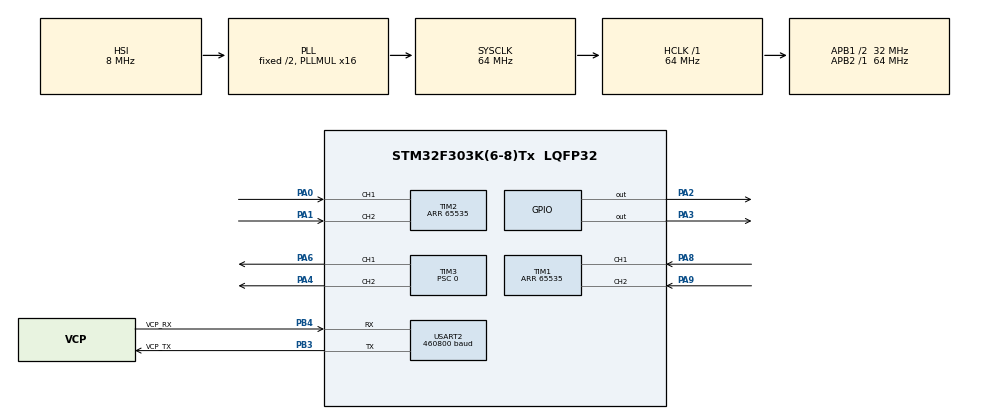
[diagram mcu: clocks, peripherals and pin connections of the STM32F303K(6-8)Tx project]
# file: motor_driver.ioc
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Dma.Request0=USART2_RX
Dma.Request1=USART2_TX
Dma.USART2_RX.0.Direction=DMA_PERIPH_TO_MEMORY
Dma.USART2_RX.0.Instance=DMA1_Channel6
Dma.USART2_RX.0.MemDataAlignment=DMA_MDATAALIGN_BYTE
Dma.USART2_RX.0.MemInc=DMA_MINC_ENABLE
Dma.USART2_RX.0.Mode=DMA_CIRCULAR
Dma.USART2_RX.0.PeriphDataAlignment=DMA_PDATAALIGN_BYTE
Dma.USART2_RX.0.PeriphInc=DMA_PINC_DISABLE
Dma.USART2_RX.0.Priority=DMA_PRIORITY_LOW
Dma.USART2_TX.1.Direction=DMA_MEMORY_TO_PERIPH
Dma.USART2_TX.1.Instance=DMA1_Channel7
Dma.USART2_TX.1.MemDataAlignment=DMA_MDATAALIGN_BYTE
Dma.USART2_TX.1.MemInc=DMA_MINC_ENABLE
Dma.USART2_TX.1.Mode=DMA_NORMAL
Dma.USART2_TX.1.PeriphDataAlignment=DMA_PDATAALIGN_BYTE
Dma.USART2_TX.1.PeriphInc=DMA_PINC_DISABLE
Dma.USART2_TX.1.Priority=DMA_PRIORITY_LOW
Mcu.Family=STM32F3
Mcu.Name=STM32F303K(6-8)Tx
Mcu.Package=LQFP32
NVIC.DMA1_Channel6_IRQn=true\:0\:0\:false\:false\:true\:true
NVIC.DMA1_Channel7_IRQn=true\:0\:0\:false\:false\:true\:true
NVIC.PriorityGroup=NVIC_PRIORITYGROUP_4
NVIC.TIM6_DAC1_IRQn=true\:0\:0\:false\:false\:true\:true
NVIC.TIM7_DAC2_IRQn=true\:0\:0\:false\:false\:true\:true
NVIC.USART2_IRQn=true\:0\:0\:false\:false\:true\:true
PA0.Signal=S_TIM2_CH1_ETR
PA1.Signal=S_TIM2_CH2
PA13.GPIO_Label=SWDIO
PA13.Signal=SYS_JTMS-SWDIO
PA14.GPIO_Label=SWCLK
PA14.Signal=SYS_JTCK-SWCLK
PA2.GPIO_PuPd=GPIO_PULLDOWN
PA2.Signal=GPIO_Output
PA3.Signal=GPIO_Output
PA4.Signal=S_TIM3_CH2
PA5.Signal=ADC2_IN2
PA6.Signal=S_TIM3_CH1
PA8.Signal=S_TIM1_CH1
PA9.Signal=S_TIM1_CH2
PB3.GPIO_Label=VCP_TX
PB3.Mode=Asynchronous
PB3.Signal=USART2_TX
PB4.GPIO_Label=VCP_RX
PB4.Mode=Asynchronous
PB4.Signal=USART2_RX
PF0\ /\ OSC_IN.GPIO_Label=MCO
PF0\ /\ OSC_IN.Signal=RCC_OSC_IN
ProjectManager.HeapSize=0x200
ProjectManager.StackSize=0x400
ProjectManager.TargetToolchain=TrueSTUDIO
RCC.AHBFreq_Value=64000000
RCC.APB1CLKDivider=RCC_HCLK_DIV2
RCC.APB1Freq_Value=32000000
RCC.APB1TimFreq_Value=64000000
RCC.APB2Freq_Value=64000000
RCC.APB2TimFreq_Value=64000000
RCC.CortexFreq_Value=64000000
RCC.HCLKFreq_Value=64000000
RCC.HSE_VALUE=8000000
RCC.HSI_VALUE=8000000
RCC.PLLMUL=RCC_PLL_MUL16
RCC.SYSCLKFreq_VALUE=64000000
RCC.SYSCLKSourceVirtual=RCC_SYSCLKSOURCE_PLLCLK
SH.S_TIM1_CH1.0=TIM1_CH1,Encoder_Interface
SH.S_TIM1_CH2.0=TIM1_CH2,Encoder_Interface
SH.S_TIM2_CH1_ETR.0=TIM2_CH1,Encoder_Interface
SH.S_TIM2_CH2.0=TIM2_CH2,Encoder_Interface
SH.S_TIM3_CH1.0=TIM3_CH1,PWM Generation1 CH1
SH.S_TIM3_CH2.0=TIM3_CH2,PWM Generation2 CH2
TIM1.EncoderMode=TIM_ENCODERMODE_TI12
TIM1.IC1Polarity=TIM_ICPOLARITY_RISING
TIM1.IC2Polarity=TIM_ICPOLARITY_RISING
TIM1.Period=65535
TIM1.RepetitionCounter=65535
TIM2.EncoderMode=TIM_ENCODERMODE_TI12
TIM2.IC1Polarity=TIM_ICPOLARITY_RISING
TIM2.IC2Polarity=TIM_ICPOLARITY_RISING
TIM2.Period=65535
TIM3.Channel-PWM\ Generation1\ CH1=TIM_CHANNEL_1
TIM3.Channel-PWM\ Generation2\ CH2=TIM_CHANNEL_2
TIM3.OCPolarity_1=TIM_OCPOLARITY_HIGH
TIM3.OCPolarity_2=TIM_OCPOLARITY_HIGH
TIM3.Period=1000
TIM3.Prescaler=0
TIM3.Pulse-PWM\ Generation1\ CH1=0
TIM3.Pulse-PWM\ Generation2\ CH2=0
TIM6.Period=63999
TIM6.Prescaler=1
TIM7.AutoReloadPreload=TIM_AUTORELOAD_PRELOAD_ENABLE
TIM7.Period=39999
TIM7.Prescaler=1600
USART2.BaudRate=460800
USART2.VirtualMode-Asynchronous=VM_ASYNC
USART2.WordLength=WORDLENGTH_8B
VP_TIM6_VS_ClockSourceINT.Mode=Enable_Timer
VP_TIM7_VS_ClockSourceINT.Mode=Enable_Timer
board=NUCLEO-F303K8

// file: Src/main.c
/**
  ******************************************************************************
  * File Name          : main.c
  * Description        : Main program body
  ******************************************************************************
  ** This notice applies to any and all portions of this file
  * that are not between comment pairs USER CODE BEGIN and
  * USER CODE END. Other portions of this file, whether
  * inserted by the user or by software development tools
  * are owned by their respective copyright owners.
  *
  * COPYRIGHT(c) 2017 STMicroelectronics
  *
  * Redistribution and use in source and binary forms, with or without modification,
  * are permitted provided that the following conditions are met:
  *   1. Redistributions of source code must retain the above copyright notice,
  *      this list of conditions and the following disclaimer.
  *   2. Redistributions in binary form must reproduce the above copyright notice,
  *      this list of conditions and the following disclaimer in the documentation
  *      and/or other materials provided with the distribution.
  *   3. Neither the name of STMicroelectronics nor the names of its contributors
  *      may be used to endorse or promote products derived from this software
  *      without specific prior written permission.
  *
  * THIS SOFTWARE IS PROVIDED BY THE COPYRIGHT HOLDERS AND CONTRIBUTORS "AS IS"
  * AND ANY EXPRESS OR IMPLIED WARRANTIES, INCLUDING, BUT NOT LIMITED TO, THE
  * IMPLIED WARRANTIES OF MERCHANTABILITY AND FITNESS FOR A PARTICULAR PURPOSE ARE
  * DISCLAIMED. IN NO EVENT SHALL THE COPYRIGHT HOLDER OR CONTRIBUTORS BE LIABLE
  * FOR ANY DIRECT, INDIRECT, INCIDENTAL, SPECIAL, EXEMPLARY, OR CONSEQUENTIAL
  * DAMAGES (INCLUDING, BUT NOT LIMITED TO, PROCUREMENT OF SUBSTITUTE GOODS OR
  * SERVICES; LOSS OF USE, DATA, OR PROFITS; OR BUSINESS INTERRUPTION) HOWEVER
  * CAUSED AND ON ANY THEORY OF LIABILITY, WHETHER IN CONTRACT, STRICT LIABILITY,
  * OR TORT (INCLUDING NEGLIGENCE OR OTHERWISE) ARISING IN ANY WAY OUT OF THE USE
  * OF THIS SOFTWARE, EVEN IF ADVISED OF THE POSSIBILITY OF SUCH DAMAGE.
  *
  ******************************************************************************
  */
#include "main.h"
#include "stm32f3xx_hal.h"

/* USER CODE BEGIN Includes */
#include "constants.h"
#include "communication.h"
#include "pid.h"
/* USER CODE END Includes */

TIM_HandleTypeDef htim1;
TIM_HandleTypeDef htim2;
TIM_HandleTypeDef htim3;
TIM_HandleTypeDef htim6;
TIM_HandleTypeDef htim7;

UART_HandleTypeDef huart2;
DMA_HandleTypeDef hdma_usart2_rx;
DMA_HandleTypeDef hdma_usart2_tx;

/* USER CODE BEGIN PV */
/* Private variables ---------------------------------------------------------*/
volatile float feedback[4];
InMsg inMsg;
volatile PidConfig pidConfig[2];
volatile uint8_t comFlag = 0x00;
volatile bool safetyStop;
/* USER CODE END PV */

void SystemClock_Config(void);
static void MX_GPIO_Init(void);
static void MX_DMA_Init(void);
static void MX_TIM1_Init(void);
static void MX_TIM2_Init(void);
static void MX_TIM3_Init(void);
static void MX_TIM6_Init(void);
static void MX_USART2_UART_Init(void);
static void MX_TIM7_Init(void);

void HAL_TIM_MspPostInit(TIM_HandleTypeDef *htim);

/* USER CODE BEGIN PFP */
/* Private function prototypes -----------------------------------------------*/

/* USER CODE END PFP */

/* USER CODE BEGIN 0 */
void HAL_UART_RxCpltCallback(UART_HandleTypeDef *huart){
	  if(!checkMsg(&inMsg)){
		  comFlag = MSG_TYPE_ERROR;
		  return;
	  }
	  comFlag = MSG_TYPE_OK;
	  if(inMsg.msgType & MSG_TYPE_SETPOINT){
		  pidConfig[0].goal = inMsg.data1;
		  pidConfig[1].goal = inMsg.data2;
		  comFlag |= MSG_TYPE_SETPOINT;
		  safetyStop = false;
	  }
	  else if(inMsg.msgType & MSG_TYPE_RESET){
		  comFlag |= MSG_TYPE_RESET;
	  }
	  else  if(inMsg.msgType & MSG_TYPE_SETP){
		  pidConfig[0].p_gain = inMsg.data1;
		  pidConfig[1].p_gain = inMsg.data2;
		  comFlag |= MSG_TYPE_SETP;
	  }
	  else if(inMsg.msgType & MSG_TYPE_SETI){
		  pidConfig[0].i_gain = inMsg.data1;
		  pidConfig[1].i_gain = inMsg.data2;
		  comFlag |= MSG_TYPE_SETI;
	  }
	  else if(inMsg.msgType & MSG_TYPE_SETD){
		  pidConfig[0].d_gain = inMsg.data1;
		  pidConfig[1].d_gain = inMsg.data2;
		  comFlag |= MSG_TYPE_SETD;
	  }
	  return;
}

void write_motors(int left, int right){
	if (left >0){
		HAL_GPIO_WritePin(GPIOA, LEFT_MOTOR_DIR_PIN,LEFT_MOTOR_FORWARD);
	}
	else{
		HAL_GPIO_WritePin(GPIOA, LEFT_MOTOR_DIR_PIN,LEFT_MOTOR_BACKWARD);
	}
	if(right>0){
		HAL_GPIO_WritePin(GPIOA, RIGHT_MOTOR_DIR_PIN,RIGHT_MOTOR_FORWARD);
	}
	else{
		HAL_GPIO_WritePin(GPIOA, RIGHT_MOTOR_DIR_PIN,RIGHT_MOTOR_BACKWARD);
	}
	//TIM3->CCR1 = abs(left);
	//TIM3->CCR2 = abs(right);
	LEFT_MOTOR_SET = abs(left);
	RIGHT_MOTOR_SET = abs(right);

}

void HAL_TIM_PeriodElapsedCallback(TIM_HandleTypeDef *htim)
{
	if(htim->Instance == htim6.Instance){

		//read valuse from encoders
		uint16_t rawFeedback[] = {LEFT_MOTOR_FEEDBACK,RIGHT_MOTOR_FEEDBACK};
		//reset encoders
		LEFT_MOTOR_FEEDBACK = ENCODER_RESET_VALUE;
		RIGHT_MOTOR_FEEDBACK = ENCODER_RESET_VALUE;

		//transform impulses to radians
		feedback[0] = PULSE2RAD((rawFeedback[0] - ENCODER_RESET_VALUE)); 					//pos in rad
		feedback[1] = PULSE2RAD_NEGATIVE((rawFeedback[1] - ENCODER_RESET_VALUE));			//pos in rad

		//calculate current velocity, multiplication is faster than division
		feedback[2] = feedback[0]*INV_PERIOD;												//vel in rad/s
		feedback[3] = feedback[1]*INV_PERIOD;				 								//vel in rad/s

		//send odometry data
		uint8_t flags = (MSG_TYPE_ODOMETRY | comFlag);
		comFlag = 0x00;
		sendOdom(feedback,(MSG_TYPE_ODOMETRY | flags),&huart2);

		//run pid algorithm on each motor
		pid(&pidConfig[0]);
		pid(&pidConfig[1]);

		//write pid output to motors
		write_motors(pidConfig[0].u,pidConfig[1].u);
		//write_motors(pidConfig[0].u,0);
		return;
	}
	if(htim->Instance == htim7.Instance){
		//safety timer
		if(safetyStop){
			pidConfig[0].goal = 0.0;
			pidConfig[1].goal = 0.0;
		}
		safetyStop = true;
	}
}
/* USER CODE END 0 */

int main(void)
{

  /* USER CODE BEGIN 1 */
	pidConfig[0].p_gain = 20.0;
	pidConfig[0].i_gain = 2.0;
	pidConfig[0].d_gain = 0.0;
	pidConfig[0].integral =0.0;
	pidConfig[0].u = 0.0;
	pidConfig[0].y = (feedback+2);
	pidConfig[0].goal = 0.0;
	pidConfig[0].min = -900;
	pidConfig[0].max = 900;

	pidConfig[1].p_gain = 20.0;
	pidConfig[1].i_gain = 2.0;
	pidConfig[1].d_gain = 0.0;
	pidConfig[1].integral =0.0;
	pidConfig[1].u = 0.0;
	pidConfig[1].y = (feedback+3);
	pidConfig[1].goal = 0.0;
	pidConfig[1].min = -900;
	pidConfig[1].max = 900;

  /* USER CODE END 1 */

  /* MCU Configuration----------------------------------------------------------*/

  /* Reset of all peripherals, Initializes the Flash interface and the Systick. */
  HAL_Init();

  /* Configure the system clock */
  SystemClock_Config();

  /* Initialize all configured peripherals */
  MX_GPIO_Init();
  MX_DMA_Init();
  MX_TIM1_Init();
  MX_TIM2_Init();
  MX_TIM3_Init();
  MX_TIM6_Init();
  MX_USART2_UART_Init();
  MX_TIM7_Init();

  /* USER CODE BEGIN 2 */

  //start encoders
  HAL_TIM_Encoder_Start(&htim1,TIM_CHANNEL_ALL);
  HAL_TIM_Encoder_Start(&htim2,TIM_CHANNEL_ALL);

  //reset encoders
  LEFT_MOTOR_FEEDBACK = ENCODER_RESET_VALUE;
  RIGHT_MOTOR_FEEDBACK = ENCODER_RESET_VALUE;

  //start pwm generation
  HAL_TIM_PWM_Start(&htim3,TIM_CHANNEL_1);
  HAL_TIM_PWM_Start(&htim3,TIM_CHANNEL_2);

  //stop motors
  write_motors(0,0);
  //start pwm
  HAL_TIM_Base_Start(&htim3);

  //start communication
  HAL_UART_Receive_DMA(&huart2,(uint8_t*)(&inMsg),sizeof(InMsg));

  //start safety timer
  HAL_TIM_Base_Start_IT(&htim7);

  //start regulation
  HAL_TIM_Base_Start_IT(&htim6);

  /* USER CODE END 2 */

  /* Infinite loop */
  /* USER CODE BEGIN WHILE */
  while (1)
  {
	  asm("nop");
  /* USER CODE END WHILE */

  }

}

/** System Clock Configuration
*/
void SystemClock_Config(void)
{

  RCC_OscInitTypeDef RCC_OscInitStruct;
  RCC_ClkInitTypeDef RCC_ClkInitStruct;
  RCC_PeriphCLKInitTypeDef PeriphClkInit;

    /**Initializes the CPU, AHB and APB busses clocks
    */
  RCC_OscInitStruct.OscillatorType = RCC_OSCILLATORTYPE_HSI;
  RCC_OscInitStruct.HSIState = RCC_HSI_ON;
  RCC_OscInitStruct.HSICalibrationValue = 16;
  RCC_OscInitStruct.PLL.PLLState = RCC_PLL_ON;
  RCC_OscInitStruct.PLL.PLLSource = RCC_PLLSOURCE_HSI;
  RCC_OscInitStruct.PLL.PLLMUL = RCC_PLL_MUL16;
  if (HAL_RCC_OscConfig(&RCC_OscInitStruct) != HAL_OK)
  {
    _Error_Handler(__FILE__, __LINE__);
  }

    /**Initializes the CPU, AHB and APB busses clocks
    */
  RCC_ClkInitStruct.ClockType = RCC_CLOCKTYPE_HCLK|RCC_CLOCKTYPE_SYSCLK
                              |RCC_CLOCKTYPE_PCLK1|RCC_CLOCKTYPE_PCLK2;
  RCC_ClkInitStruct.SYSCLKSource = RCC_SYSCLKSOURCE_PLLCLK;
  RCC_ClkInitStruct.AHBCLKDivider = RCC_SYSCLK_DIV1;
  RCC_ClkInitStruct.APB1CLKDivider = RCC_HCLK_DIV2;
  RCC_ClkInitStruct.APB2CLKDivider = RCC_HCLK_DIV1;

  if (HAL_RCC_ClockConfig(&RCC_ClkInitStruct, FLASH_LATENCY_2) != HAL_OK)
  {
    _Error_Handler(__FILE__, __LINE__);
  }

  PeriphClkInit.PeriphClockSelection = RCC_PERIPHCLK_TIM1;
  PeriphClkInit.Tim1ClockSelection = RCC_TIM1CLK_HCLK;
  if (HAL_RCCEx_PeriphCLKConfig(&PeriphClkInit) != HAL_OK)
  {
    _Error_Handler(__FILE__, __LINE__);
  }

    /**Configure the Systick interrupt time
    */
  HAL_SYSTICK_Config(HAL_RCC_GetHCLKFreq()/1000);

    /**Configure the Systick
    */
  HAL_SYSTICK_CLKSourceConfig(SYSTICK_CLKSOURCE_HCLK);

  /* SysTick_IRQn interrupt configuration */
  HAL_NVIC_SetPriority(SysTick_IRQn, 0, 0);
}

/* TIM1 init function */
static void MX_TIM1_Init(void)
{

  TIM_Encoder_InitTypeDef sConfig;
  TIM_MasterConfigTypeDef sMasterConfig;

  htim1.Instance = TIM1;
  htim1.Init.Prescaler = 0;
  htim1.Init.CounterMode = TIM_COUNTERMODE_UP;
  htim1.Init.Period = 65535;
  htim1.Init.ClockDivision = TIM_CLOCKDIVISION_DIV1;
  htim1.Init.RepetitionCounter = 65535;
  htim1.Init.AutoReloadPreload = TIM_AUTORELOAD_PRELOAD_DISABLE;
  sConfig.EncoderMode = TIM_ENCODERMODE_TI12;
  sConfig.IC1Polarity = TIM_ICPOLARITY_RISING;
  sConfig.IC1Selection = TIM_ICSELECTION_DIRECTTI;
  sConfig.IC1Prescaler = TIM_ICPSC_DIV1;
  sConfig.IC1Filter = 0;
  sConfig.IC2Polarity = TIM_ICPOLARITY_RISING;
  sConfig.IC2Selection = TIM_ICSELECTION_DIRECTTI;
  sConfig.IC2Prescaler = TIM_ICPSC_DIV1;
  sConfig.IC2Filter = 0;
  if (HAL_TIM_Encoder_Init(&htim1, &sConfig) != HAL_OK)
  {
    _Error_Handler(__FILE__, __LINE__);
  }

  sMasterConfig.MasterOutputTrigger = TIM_TRGO_RESET;
  sMasterConfig.MasterOutputTrigger2 = TIM_TRGO2_RESET;
  sMasterConfig.MasterSlaveMode = TIM_MASTERSLAVEMODE_DISABLE;
  if (HAL_TIMEx_MasterConfigSynchronization(&htim1, &sMasterConfig) != HAL_OK)
  {
    _Error_Handler(__FILE__, __LINE__);
  }

}

/* TIM2 init function */
static void MX_TIM2_Init(void)
{

  TIM_Encoder_InitTypeDef sConfig;
  TIM_MasterConfigTypeDef sMasterConfig;

  htim2.Instance = TIM2;
  htim2.Init.Prescaler = 0;
  htim2.Init.CounterMode = TIM_COUNTERMODE_UP;
  htim2.Init.Period = 65535;
  htim2.Init.ClockDivision = TIM_CLOCKDIVISION_DIV1;
  htim2.Init.AutoReloadPreload = TIM_AUTORELOAD_PRELOAD_DISABLE;
  sConfig.EncoderMode = TIM_ENCODERMODE_TI12;
  sConfig.IC1Polarity = TIM_ICPOLARITY_RISING;
  sConfig.IC1Selection = TIM_ICSELECTION_DIRECTTI;
  sConfig.IC1Prescaler = TIM_ICPSC_DIV1;
  sConfig.IC1Filter = 0;
  sConfig.IC2Polarity = TIM_ICPOLARITY_RISING;
  sConfig.IC2Selection = TIM_ICSELECTION_DIRECTTI;
  sConfig.IC2Prescaler = TIM_ICPSC_DIV1;
  sConfig.IC2Filter = 0;
  if (HAL_TIM_Encoder_Init(&htim2, &sConfig) != HAL_OK)
  {
    _Error_Handler(__FILE__, __LINE__);
  }

  sMasterConfig.MasterOutputTrigger = TIM_TRGO_RESET;
  sMasterConfig.MasterSlaveMode = TIM_MASTERSLAVEMODE_DISABLE;
  if (HAL_TIMEx_MasterConfigSynchronization(&htim2, &sMasterConfig) != HAL_OK)
  {
    _Error_Handler(__FILE__, __LINE__);
  }

}

/* TIM3 init function */
static void MX_TIM3_Init(void)
{

  TIM_MasterConfigTypeDef sMasterConfig;
  TIM_OC_InitTypeDef sConfigOC;

  htim3.Instance = TIM3;
  htim3.Init.Prescaler = 0;
  htim3.Init.CounterMode = TIM_COUNTERMODE_UP;
  htim3.Init.Period = 1000;
  htim3.Init.ClockDivision = TIM_CLOCKDIVISION_DIV1;
  htim3.Init.AutoReloadPreload = TIM_AUTORELOAD_PRELOAD_DISABLE;
  if (HAL_TIM_PWM_Init(&htim3) != HAL_OK)
  {
    _Error_Handler(__FILE__, __LINE__);
  }

  sMasterConfig.MasterOutputTrigger = TIM_TRGO_RESET;
  sMasterConfig.MasterSlaveMode = TIM_MASTERSLAVEMODE_DISABLE;
  if (HAL_TIMEx_MasterConfigSynchronization(&htim3, &sMasterConfig) != HAL_OK)
  {
    _Error_Handler(__FILE__, __LINE__);
  }

  sConfigOC.OCMode = TIM_OCMODE_PWM1;
  sConfigOC.Pulse = 0;
  sConfigOC.OCPolarity = TIM_OCPOLARITY_HIGH;
  sConfigOC.OCFastMode = TIM_OCFAST_DISABLE;
  if (HAL_TIM_PWM_ConfigChannel(&htim3, &sConfigOC, TIM_CHANNEL_1) != HAL_OK)
  {
    _Error_Handler(__FILE__, __LINE__);
  }

  if (HAL_TIM_PWM_ConfigChannel(&htim3, &sConfigOC, TIM_CHANNEL_2) != HAL_OK)
  {
    _Error_Handler(__FILE__, __LINE__);
  }

  HAL_TIM_MspPostInit(&htim3);

}

/* TIM6 init function */
static void MX_TIM6_Init(void)
{

  TIM_MasterConfigTypeDef sMasterConfig;

  htim6.Instance = TIM6;
  htim6.Init.Prescaler = 1;
  htim6.Init.CounterMode = TIM_COUNTERMODE_UP;
  htim6.Init.Period = 63999;
  htim6.Init.AutoReloadPreload = TIM_AUTORELOAD_PRELOAD_DISABLE;
  if (HAL_TIM_Base_Init(&htim6) != HAL_OK)
  {
    _Error_Handler(__FILE__, __LINE__);
  }

  sMasterConfig.MasterOutputTrigger = TIM_TRGO_RESET;
  sMasterConfig.MasterSlaveMode = TIM_MASTERSLAVEMODE_DISABLE;
  if (HAL_TIMEx_MasterConfigSynchronization(&htim6, &sMasterConfig) != HAL_OK)
  {
    _Error_Handler(__FILE__, __LINE__);
  }

}

/* TIM7 init function */
static void MX_TIM7_Init(void)
{

  TIM_MasterConfigTypeDef sMasterConfig;

  htim7.Instance = TIM7;
  htim7.Init.Prescaler = 1600;
  htim7.Init.CounterMode = TIM_COUNTERMODE_UP;
  htim7.Init.Period = 39999;
  htim7.Init.AutoReloadPreload = TIM_AUTORELOAD_PRELOAD_ENABLE;
  if (HAL_TIM_Base_Init(&htim7) != HAL_OK)
  {
    _Error_Handler(__FILE__, __LINE__);
  }

  sMasterConfig.MasterOutputTrigger = TIM_TRGO_RESET;
  sMasterConfig.MasterSlaveMode = TIM_MASTERSLAVEMODE_DISABLE;
  if (HAL_TIMEx_MasterConfigSynchronization(&htim7, &sMasterConfig) != HAL_OK)
  {
    _Error_Handler(__FILE__, __LINE__);
  }

}

/* USART2 init function */
static void MX_USART2_UART_Init(void)
{

  huart2.Instance = USART2;
  huart2.Init.BaudRate = 460800;
  huart2.Init.WordLength = UART_WORDLENGTH_8B;
  huart2.Init.StopBits = UART_STOPBITS_1;
  huart2.Init.Parity = UART_PARITY_NONE;
  huart2.Init.Mode = UART_MODE_TX_RX;
  huart2.Init.HwFlowCtl = UART_HWCONTROL_NONE;
  huart2.Init.OverSampling = UART_OVERSAMPLING_16;
  huart2.Init.OneBitSampling = UART_ONE_BIT_SAMPLE_DISABLE;
  huart2.AdvancedInit.AdvFeatureInit = UART_ADVFEATURE_NO_INIT;
  if (HAL_UART_Init(&huart2) != HAL_OK)
  {
    _Error_Handler(__FILE__, __LINE__);
  }

}

static void MX_DMA_Init(void)
{
  /* DMA controller clock enable */
  __HAL_RCC_DMA1_CLK_ENABLE();

  /* DMA interrupt init */
  /* DMA1_Channel6_IRQn interrupt configuration */
  HAL_NVIC_SetPriority(DMA1_Channel6_IRQn, 0, 0);
  HAL_NVIC_EnableIRQ(DMA1_Channel6_IRQn);
  /* DMA1_Channel7_IRQn interrupt configuration */
  HAL_NVIC_SetPriority(DMA1_Channel7_IRQn, 0, 0);
  HAL_NVIC_EnableIRQ(DMA1_Channel7_IRQn);

}

/** Configure pins as
        * Analog
        * Input
        * Output
        * EVENT_OUT
        * EXTI
     PA5   ------> ADC2_IN2
*/
static void MX_GPIO_Init(void)
{

  GPIO_InitTypeDef GPIO_InitStruct;

  /* GPIO Ports Clock Enable */
  __HAL_RCC_GPIOF_CLK_ENABLE();
  __HAL_RCC_GPIOA_CLK_ENABLE();
  __HAL_RCC_GPIOB_CLK_ENABLE();

  /*Configure GPIO pin Output Level */
  HAL_GPIO_WritePin(GPIOA, GPIO_PIN_2|GPIO_PIN_3, GPIO_PIN_RESET);

  /*Configure GPIO pin : PA2 */
  GPIO_InitStruct.Pin = GPIO_PIN_2;
  GPIO_InitStruct.Mode = GPIO_MODE_OUTPUT_PP;
  GPIO_InitStruct.Pull = GPIO_PULLDOWN;
  GPIO_InitStruct.Speed = GPIO_SPEED_FREQ_LOW;
  HAL_GPIO_Init(GPIOA, &GPIO_InitStruct);

  /*Configure GPIO pin : PA3 */
  GPIO_InitStruct.Pin = GPIO_PIN_3;
  GPIO_InitStruct.Mode = GPIO_MODE_OUTPUT_PP;
  GPIO_InitStruct.Pull = GPIO_NOPULL;
  GPIO_InitStruct.Speed = GPIO_SPEED_FREQ_LOW;
  HAL_GPIO_Init(GPIOA, &GPIO_InitStruct);

  /*Configure GPIO pin : PA5 */
  GPIO_InitStruct.Pin = GPIO_PIN_5;
  GPIO_InitStruct.Mode = GPIO_MODE_ANALOG;
  GPIO_InitStruct.Pull = GPIO_NOPULL;
  HAL_GPIO_Init(GPIOA, &GPIO_InitStruct);

}

void _Error_Handler(char * file, int line)
{
  while(1)
  {
  }
}

/************************ (C) COPYRIGHT STMicroelectronics *****END OF FILE****/
